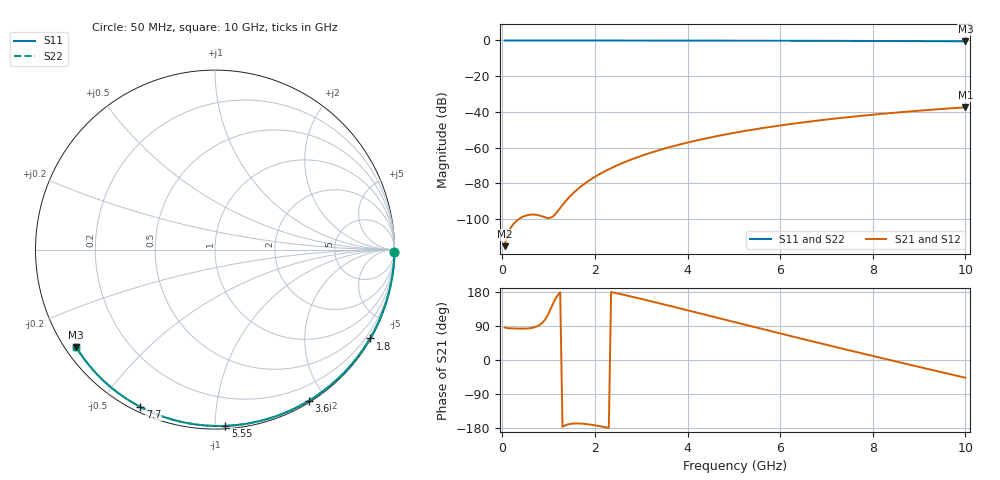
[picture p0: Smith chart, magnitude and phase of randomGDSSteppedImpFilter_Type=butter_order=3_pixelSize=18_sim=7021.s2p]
! freq	dB(S11)	phase(S11)	dB(S12)	phase(S12)
!  dB(S21)	phase(S21)	dB(S22)	phase(S22)
!S-par simulation data
#  GHz  S  DB  R 50
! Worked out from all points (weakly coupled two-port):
!   200 points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, 50 MHz to 10 GHz, reference 50 ohm
!   highest |S21| = -37.40 dB at 10 GHz (marker M1); lowest = -115.1 dB at 50 MHz (marker M2)
!   lowest |S11| = -0.5 dB at 10 GHz (marker M3), VSWR 35.55, Z = 1.55 - j15.8 ohm
!   |S11| at or under -10 dB: nowhere
!   |S22| runs from -0.5 to 0.0 dB; largest |S21 - S12| = 0
!   S11 on the Smith chart (normalised r, x): 50 MHz: open; 1.8 GHz: 0.03, -3.76; 3.6 GHz: 0.02, -1.80; 5.55 GHz: 0.02, -1.06; 7.7 GHz: 0.02, -0.63; 10 GHz: 0.03, -0.32
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0.05  -0.00 -0.8  -115.10 86.1  -115.10 86.1  -0.00 -0.8
0.45  -0.01 -7.6  -98.57 82.8  -98.57 82.8  -0.01 -7.6
0.9  -0.02 -15.1  -98.74 103.0  -98.74 103.0  -0.02 -15.1
1.3  -0.03 -21.7  -92.06 -176.4  -92.06 -176.4  -0.03 -21.7
1.75  -0.04 -29.0  -80.65 -168.2  -80.65 -168.2  -0.04 -29.0
1.8  -0.04 -29.8  -79.70 -168.8  -79.70 -168.8  -0.04 -29.8
1.95  -0.04 -32.2  -77.09 -171.3  -77.09 -171.3  -0.04 -32.2
2.1  -0.04 -34.7  -74.79 -174.5  -74.79 -174.5  -0.04 -34.7
2.3  -0.05 -37.9  -72.06 -179.3  -72.06 -179.3  -0.05 -37.9
2.5  -0.05 -41.1  -69.64 175.5  -69.64 175.5  -0.05 -41.1
2.9  -0.06 -47.4  -65.51 164.2  -65.51 164.2  -0.06 -47.4
3.4  -0.07 -55.1  -61.27 149.4  -61.27 149.4  -0.07 -55.1
3.6  -0.08 -58.2  -59.79 143.3  -59.79 143.3  -0.08 -58.2
4.3  -0.10 -68.6  -55.34 122.0  -55.34 122.0  -0.10 -68.6
5.05  -0.12 -79.5  -51.49 99.0  -51.49 99.0  -0.12 -79.5
5.55  -0.14 -86.6  -49.31 83.7  -49.31 83.7  -0.14 -86.6
6.1  -0.17 -94.2  -47.20 67.1  -47.20 67.1  -0.17 -94.2
6.7  -0.20 -102.3  -45.17 49.0  -45.17 49.0  -0.20 -102.3
7.7  -0.26 -115.5  -42.29 19.4  -42.29 19.4  -0.26 -115.5
8.35  -0.32 -123.8  -40.70 0.4  -40.70 0.4  -0.32 -123.8
9.2  -0.40 -134.7  -38.88 -24.0  -38.88 -24.0  -0.40 -134.7
10  -0.49 -144.9  -37.40 -46.9  -37.40 -46.9  -0.49 -144.9
